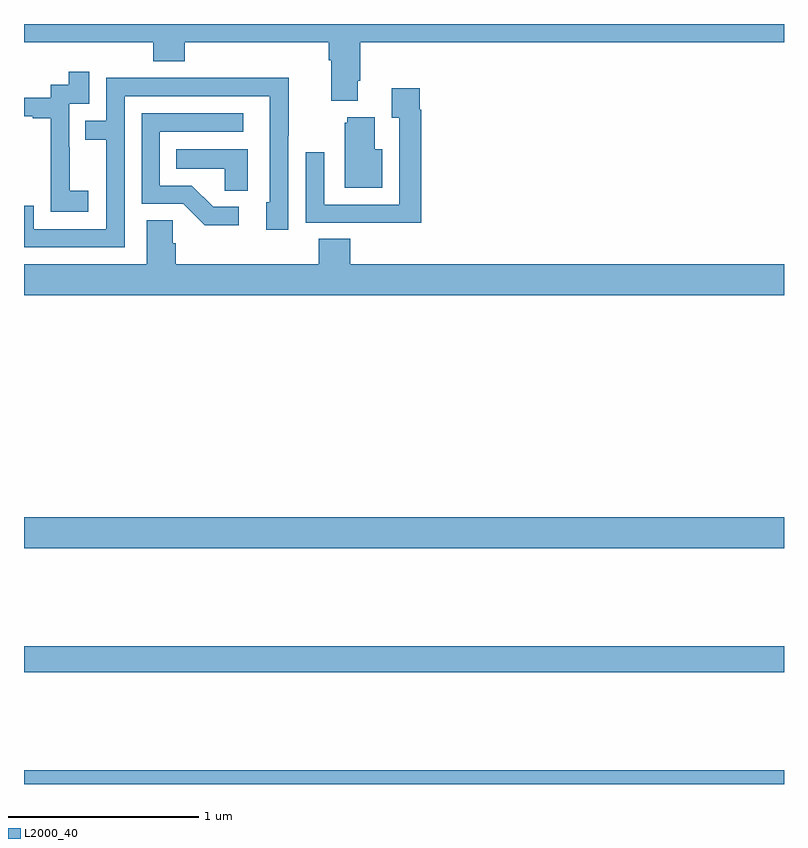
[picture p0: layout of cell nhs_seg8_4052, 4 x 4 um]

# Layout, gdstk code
import gdstk
lib = gdstk.Library(unit=1e-6, precision=1e-09)
def R(c, l, rs):  # rectangles x0, y0, x1, y1
    for r in rs: c.add(gdstk.rectangle(r[:2], r[2:], *l))
def P(c, l, *ps):  # polygons
    for p in ps: c.add(gdstk.Polygon(p, *l))
L2000_40 = (2000, 40)

nhs_seg8_4052 = lib.new_cell('nhs_seg8_4052')
R(nhs_seg8_4052, L2000_40, [(359,1141.9,363,1141.972), (359,1142.488,363,1142.624), (359,1143.14,363,1143.304)])
P(nhs_seg8_4052, L2000_40, [(363,1145.9),(359,1145.9),(359,1145.804),(359.681,1145.804),(359.681,1145.705),(359.846,1145.705),(359.846,1145.804),(360.605,1145.804),(360.605,1145.708),(360.617,1145.708),(360.617,1145.495),(360.757,1145.495),(360.757,1145.602),(360.77,1145.602),(360.77,1145.804),(363,1145.804)],
  [(359.338,1145.023),(359.24,1145.023),(359.24,1145.252),(359.238,1145.252),(359.238,1145.481),(359.343,1145.481),(359.343,1145.65),(359.235,1145.65),(359.235,1145.58),(359.142,1145.58),(359.142,1145.511),(359,1145.511),(359,1145.415),(359.045,1145.415),(359.045,1145.403),(359.141,1145.403),(359.141,1145.119),(359.14,1145.119),(359.14,1144.913),(359.338,1144.913)],
  [(359.529,1145.52),(360.294,1145.52),(360.294,1144.962),(360.275,1144.962),(360.275,1144.818),(360.39,1144.818),(360.39,1145.311),(360.393,1145.311),(360.393,1145.618),(359.929,1145.618),(359.929,1145.616),(359.433,1145.616),(359.433,1145.391),(359.323,1145.391),(359.323,1145.29),(359.433,1145.29),(359.433,1144.821),(359.052,1144.821),(359.052,1144.944),(359,1144.944),(359,1144.725),(359.529,1144.725)],
  [(361.091,1145.45),(361.084,1145.45),(361.084,1145.563),(360.935,1145.563),(360.935,1145.407),(360.975,1145.407),(360.975,1144.95),(360.579,1144.95),(360.579,1145.224),(360.483,1145.224),(360.483,1144.854),(360.799,1144.854),(360.799,1144.853),(361.091,1144.853)],
  [(360.13,1144.938),(359.995,1144.938),(359.884,1145.049),(359.715,1145.049),(359.715,1145.334),(360.154,1145.334),(360.154,1145.43),(359.619,1145.43),(359.619,1144.953),(359.838,1144.953),(359.951,1144.841),(360.13,1144.841)],
  [(360.886,1145.242),(360.847,1145.242),(360.847,1145.41),(360.701,1145.41),(360.701,1145.379),(360.689,1145.379),(360.689,1145.039),(360.886,1145.039)],
  [(360.178,1145.242),(359.8,1145.242),(359.8,1145.138),(360.057,1145.138),(360.057,1145.023),(360.178,1145.023)],
  [(363,1144.636),(360.716,1144.636),(360.716,1144.769),(360.551,1144.769),(360.551,1144.636),(359.798,1144.636),(359.798,1144.745),(359.784,1144.745),(359.784,1144.868),(359.645,1144.868),(359.645,1144.636),(359,1144.636),(359,1144.472),(363,1144.472)])

lib.write_gds('nhs_seg8_4052.gds')
